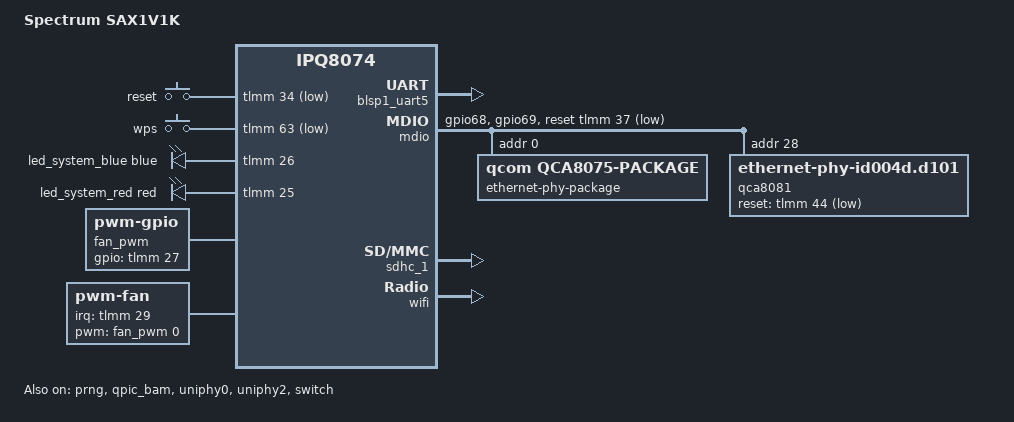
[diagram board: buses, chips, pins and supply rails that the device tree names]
// SPDX-License-Identifier: GPL-2.0-or-later OR MIT

/dts-v1/;

#include "ipq8074.dtsi"
#include "ipq8074-nss.dtsi"
#include "ipq8074-hk-cpu.dtsi"
#include "ipq8074-ess.dtsi"
#include <dt-bindings/gpio/gpio.h>
#include <dt-bindings/input/input.h>
#include <dt-bindings/interrupt-controller/irq.h>
#include <dt-bindings/leds/common.h>

/ {
	model = "Spectrum SAX1V1K";
	compatible = "spectrum,sax1v1k", "qcom,ipq8074";

	aliases {
		led-boot = &led_system_red;
		led-failsafe = &led_system_red;
		led-running = &led_system_blue;
		led-upgrade = &led_system_red;
		serial0 = &blsp1_uart5;
		/* Aliases as required by u-boot to patch MAC addresses */
		ethernet0 = &swport6;
		ethernet1 = &swport4;
		ethernet2 = &swport3;
		ethernet3 = &swport2;
		label-mac-device = &swport6;
	};

	chosen {
		stdout-path = "serial0:115200n8";
	};

	keys {
		compatible = "gpio-keys";

		reset {
			label = "reset";
			gpios = <&tlmm 34 GPIO_ACTIVE_LOW>;
			linux,code = <KEY_RESTART>;
		};

		wps {
			label = "wps";
			gpios = <&tlmm 63 GPIO_ACTIVE_LOW>;
			linux,code = <KEY_WPS_BUTTON>;
		};
	};

	leds {
		compatible = "gpio-leds";

		led_system_blue: system-blue {
			gpios = <&tlmm 26 GPIO_ACTIVE_HIGH>;
			color = <LED_COLOR_ID_BLUE>;
			function = LED_FUNCTION_STATUS;
		};

		led_system_red: system-red {
			gpios = <&tlmm 25 GPIO_ACTIVE_HIGH>;
			color = <LED_COLOR_ID_RED>;
			function = LED_FUNCTION_STATUS;
		};
	};

	/*
	 * The fan has no dedicated PWM input: its speed is set by switching
	 * GPIO 27 on and off, so drive it with the software PWM driver.
	 * The tachometer output is on GPIO 29 and gives 2 pulses per turn.
	 */
	fan_pwm: pwm {
		compatible = "pwm-gpio";
		#pwm-cells = <3>;

		pinctrl-0 = <&fan_pwm_pins>;
		pinctrl-names = "default";

		gpios = <&tlmm 27 GPIO_ACTIVE_HIGH>;
	};

	fan: pwm-fan {
		compatible = "pwm-fan";

		/*
		 * 1 kHz, the period the stock firmware uses. The pin is
		 * toggled from a hrtimer, so keep the frequency low.
		 */
		pwms = <&fan_pwm 0 1000000 0>;

		/* off, 30 %, 40 %, 50 % */
		cooling-levels = <0 77 102 128>;
		#cooling-cells = <2>;

		interrupt-parent = <&tlmm>;
		interrupts = <29 IRQ_TYPE_EDGE_FALLING>;
		pulses-per-revolution = <2>;

		pinctrl-0 = <&fan_tach_pins>;
		pinctrl-names = "default";
	};
};

&tlmm {
	fan_pwm_pins: fan-pwm-state {
		pins = "gpio27";
		function = "gpio";
		drive-strength = <8>;
		bias-disable;
		/* keep the fan at full speed until the PWM takes over */
		output-high;
	};

	fan_tach_pins: fan-tach-state {
		pins = "gpio29";
		function = "gpio";
		drive-strength = <2>;
		bias-pull-up;
	};

	mdio_pins: mdio-pins {
		mdc {
			pins = "gpio68";
			function = "mdc";
			drive-strength = <8>;
			bias-pull-up;
		};

		mdio {
			pins = "gpio69";
			function = "mdio";
			drive-strength = <8>;
			bias-pull-up;
		};
	};
};

&blsp1_uart5 {
	status = "okay";
};

&prng {
	status = "okay";
};

&qpic_bam {
	status = "okay";
};

&mdio {
	pinctrl-0 = <&mdio_pins>;
	pinctrl-names = "default";
	reset-gpios = <&tlmm 37 GPIO_ACTIVE_LOW>;
	status = "okay";

	ethernet-phy-package@0 {
		#address-cells = <1>;
		#size-cells = <0>;
		compatible = "qcom,qca8075-package";
		reg = <0>;

		qcom,package-mode = "qsgmii";

		qca8075_1: ethernet-phy@1 {
			compatible = "ethernet-phy-ieee802.3-c22";
			reg = <1>;
		};

		qca8075_2: ethernet-phy@2 {
			compatible = "ethernet-phy-ieee802.3-c22";
			reg = <2>;
		};

		qca8075_3: ethernet-phy@3 {
			compatible = "ethernet-phy-ieee802.3-c22";
			reg = <3>;
		};
	};

	qca8081: ethernet-phy@28 {
		compatible = "ethernet-phy-id004d.d101";
		reg = <28>;
		reset-gpios = <&tlmm 44 GPIO_ACTIVE_LOW>;
		reset-deassert-us = <10000>;

		leds {
			#address-cells = <1>;
			#size-cells = <0>;

			led@0 {
				reg = <0>;
				color = <LED_COLOR_ID_YELLOW>;
				function = LED_FUNCTION_WAN;
				default-state = "keep";
				active-low;
			};

			led@2 {
				reg = <2>;
				color = <LED_COLOR_ID_GREEN>;
				function = LED_FUNCTION_WAN;
				default-state = "keep";
				active-low;
			};
		};
	};
};

&sdhc_1 {
	/* Following same rule as QNAP 301W
	 * the emmc has a problem with the hs400 > hs200 speed switch.
	 * Therefore remove the mmc-hs400-1_8v property
	*/
	/delete-property/ mmc-hs400-1_8v;
	mmc-hs200-1_8v;
	mmc-ddr-1_8v;
	vqmmc-supply = <&l11>;
	status = "okay";
};

&uniphy0 {
	status = "okay";
};

&uniphy2 {
	status = "okay";
};

&switch {
	status = "okay";

	ports {
		#address-cells = <1>;
		#size-cells = <0>;

		port@0 {
			reg = <0>;
			ethernet = <&edma>;
			phy-mode = "internal";

			fixed-link {
				speed = <1000>;
				full-duplex;
			};
		};

		swport2: port@2 {
			reg = <2>;
			label = "lan3";
			phy-handle = <&qca8075_1>;
			phy-mode = "qsgmii";
			pcs-handle = <&uniphy0 1>;
		};

		swport3: port@3 {
			reg = <3>;
			label = "lan2";
			phy-handle = <&qca8075_2>;
			phy-mode = "qsgmii";
			pcs-handle = <&uniphy0 2>;
		};

		swport4: port@4 {
			reg = <4>;
			label = "lan1";
			phy-handle = <&qca8075_3>;
			phy-mode = "qsgmii";
			pcs-handle = <&uniphy0 3>;
		};

		swport6: port@6 {
			reg = <6>;
			label = "wan";
			phy-handle = <&qca8081>;
			phy-mode = "2500base-x";
			pcs-handle = <&uniphy2 0>;
		};
	};
};

&edma {
	status = "okay";
};

&wifi {
	qcom,ath11k-calibration-variant = "Spectrum-SAX1V1K";
	status = "okay";
};

/*
 * The fan stays off below 70 °C and then runs at 30 %, 40 % and 50 % of its
 * speed. The hysteresis matches the 3 °C margin the fan is only slowed down
 * with again. Attaching it to the CPU and cluster zones, as the other
 * IPQ8074 boards do, makes the thermal core drive the fan from the hottest
 * of them. The CPU is still throttled by the passive trips in
 * ipq8074-hk-cpu.dtsi from 95 °C on and the critical trip at 110 °C shuts
 * the router down.
 */
&cpu0_thermal {
	trips {
		cpu0_fan_low: fan-low {
			temperature = <70000>;
			hysteresis = <3000>;
			type = "active";
		};

		cpu0_fan_high: fan-high {
			temperature = <80000>;
			hysteresis = <3000>;
			type = "active";
		};

		cpu0_fan_max: fan-max {
			temperature = <90000>;
			hysteresis = <3000>;
			type = "active";
		};
	};

	cooling-maps {
		fan-active-low {
			trip = <&cpu0_fan_low>;
			cooling-device = <&fan 1 1>;
		};

		fan-active-high {
			trip = <&cpu0_fan_high>;
			cooling-device = <&fan 2 2>;
		};

		fan-active-max {
			trip = <&cpu0_fan_max>;
			cooling-device = <&fan 3 3>;
		};
	};
};

&cpu1_thermal {
	trips {
		cpu1_fan_low: fan-low {
			temperature = <70000>;
			hysteresis = <3000>;
			type = "active";
		};

		cpu1_fan_high: fan-high {
			temperature = <80000>;
			hysteresis = <3000>;
			type = "active";
		};

		cpu1_fan_max: fan-max {
			temperature = <90000>;
			hysteresis = <3000>;
			type = "active";
		};
	};

	cooling-maps {
		fan-active-low {
			trip = <&cpu1_fan_low>;
			cooling-device = <&fan 1 1>;
		};

		fan-active-high {
			trip = <&cpu1_fan_high>;
			cooling-device = <&fan 2 2>;
		};

		fan-active-max {
			trip = <&cpu1_fan_max>;
			cooling-device = <&fan 3 3>;
		};
	};
};

&cpu2_thermal {
	trips {
		cpu2_fan_low: fan-low {
			temperature = <70000>;
			hysteresis = <3000>;
			type = "active";
		};

		cpu2_fan_high: fan-high {
			temperature = <80000>;
			hysteresis = <3000>;
			type = "active";
		};

		cpu2_fan_max: fan-max {
			temperature = <90000>;
			hysteresis = <3000>;
			type = "active";
		};
	};

	cooling-maps {
		fan-active-low {
			trip = <&cpu2_fan_low>;
			cooling-device = <&fan 1 1>;
		};

		fan-active-high {
			trip = <&cpu2_fan_high>;
			cooling-device = <&fan 2 2>;
		};

		fan-active-max {
			trip = <&cpu2_fan_max>;
			cooling-device = <&fan 3 3>;
		};
	};
};

&cpu3_thermal {
	trips {
		cpu3_fan_low: fan-low {
			temperature = <70000>;
			hysteresis = <3000>;
			type = "active";
		};

		cpu3_fan_high: fan-high {
			temperature = <80000>;
			hysteresis = <3000>;
			type = "active";
		};

		cpu3_fan_max: fan-max {
			temperature = <90000>;
			hysteresis = <3000>;
			type = "active";
		};
	};

	cooling-maps {
		fan-active-low {
			trip = <&cpu3_fan_low>;
			cooling-device = <&fan 1 1>;
		};

		fan-active-high {
			trip = <&cpu3_fan_high>;
			cooling-device = <&fan 2 2>;
		};

		fan-active-max {
			trip = <&cpu3_fan_max>;
			cooling-device = <&fan 3 3>;
		};
	};
};

&cluster_thermal {
	trips {
		cluster_fan_low: fan-low {
			temperature = <70000>;
			hysteresis = <3000>;
			type = "active";
		};

		cluster_fan_high: fan-high {
			temperature = <80000>;
			hysteresis = <3000>;
			type = "active";
		};

		cluster_fan_max: fan-max {
			temperature = <90000>;
			hysteresis = <3000>;
			type = "active";
		};
	};

	cooling-maps {
		fan-active-low {
			trip = <&cluster_fan_low>;
			cooling-device = <&fan 1 1>;
		};

		fan-active-high {
			trip = <&cluster_fan_high>;
			cooling-device = <&fan 2 2>;
		};

		fan-active-max {
			trip = <&cluster_fan_max>;
			cooling-device = <&fan 3 3>;
		};
	};
};
